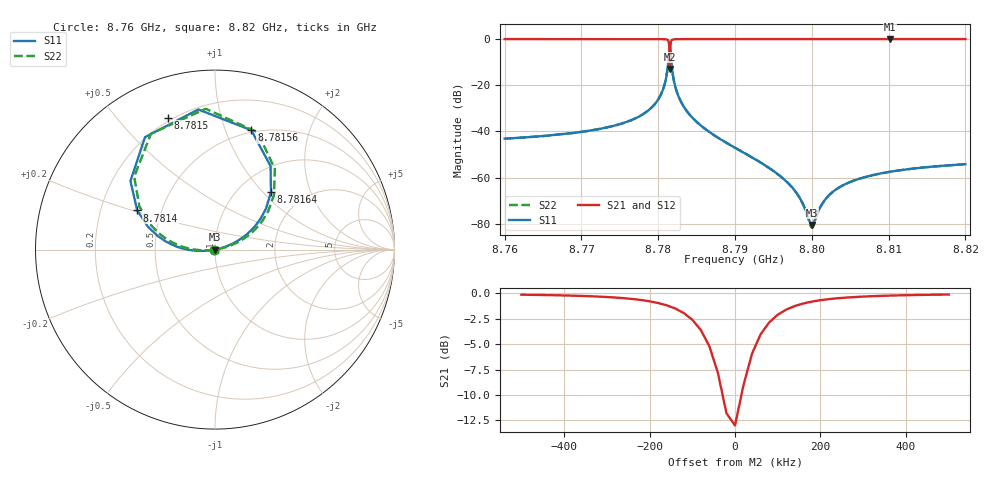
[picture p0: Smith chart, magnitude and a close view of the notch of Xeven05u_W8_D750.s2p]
! Sonnet Data File
! From: emgraph Version : 16.52
! From Project: Qubit_Xmon2_brg_para
! Data is De-embedded
! Data File Written: 11/12/2017 19:09:19
!< HDATE 11/12/2017 17:12:30
!< MDATE 11/12/2017 17:12:30
!< PARAMS
!< Lj = 11.0
!< Gap = 6.0
!< Pwid = 2000.0
!< Airgap = 6.0
!< Width = 10.0
!< Bwid = 8.0
!< Dis1 = 750.0
!< Dis2 = 756.0
!< END PARAMS
# GHZ S MA R 51.80000
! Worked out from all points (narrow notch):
!   3001 points, 8.76 GHz to 8.82 GHz, reference 51.8 ohm
!   highest |S21| = 0.00 dB at 8.81018 GHz (marker M1); lowest = -13.0 dB at 8.78152 GHz (marker M2)
!   notch at M2: 13.0 dB deep, 86.4 kHz wide at half that depth
!   lowest |S11| = -80.5 dB at 8.80002 GHz (marker M3), VSWR 1.00, Z = 51.8 + j0.00951 ohm
!   |S11| at or under -10 dB: start of sweep to 8.78131 GHz; 8.781712 GHz to end of sweep
!   |S22| runs from -81.7 to -2.1 dB; largest |S21 - S12| = 0
!   S11 on the Smith chart (normalised r, x): 8.76 GHz: 0.99, -0.00; 8.7814 GHz: 0.36, +0.21; 8.7815 GHz: 0.18, +0.69; 8.78156 GHz: 0.48, +1.23; 8.78164 GHz: 1.39, +1.11; 8.82 GHz: 1.00, -0.00
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8.76  0.006948 -169.8  1 -80.6  1 -80.6  0.006948 -171.4
!< P1 F=8.76 Eeff=(6.44679139 -2.9786e-5) Z0=(51.7991425 1.19067e-4) R=0.0 C=0.0
!< P2 F=8.76 Eeff=(6.44679139 -2.9786e-5) Z0=(51.7991425 1.19067e-4) R=0.0 C=0.0
8.77  0.009741 -169.9  0.9999 -80.8  0.9999 -80.8  0.009741 -171.9
8.77664  0.01792 -170.3  0.9998 -81.4  0.9998 -81.4  0.01792 -172.8
8.78  0.04934 -172.4  0.9982 -83.2  0.9982 -83.2  0.04934 -175.3
8.78082  0.1026 -176.3  0.9921 -86.3  0.9921 -86.3  0.1026 -179.2
8.7812  0.216 175.3  0.9639 -92.8  0.9639 -92.8  0.216 172.3
8.7814  0.4849 153.3  0.8003 -109.0  0.8003 -109.0  0.4848 150.3
8.7815  0.7799 109.8  0.2573 -107.5  0.2573 -107.5  0.7799 106.8
8.78152  0.7863 96.8  0.224 -65.0  0.224 -65.0  0.7862 93.8
8.78156  0.6953 73.1  0.5061 -40.2  0.5061 -40.2  0.6953 70.0
8.78164  0.4464 45.7  0.8321 -54.2  0.8321 -54.2  0.4464 42.7
8.78184  0.201 26.0  0.9681 -68.8  0.9681 -68.8  0.201 22.9
8.78236  0.07755 16.9  0.9952 -76.0  0.9952 -76.0  0.07755 13.8
8.78366  0.02846 13.5  0.9993 -78.8  0.9993 -78.8  0.02846 10.1
8.79  0.004412 12.7  1 -80.2  1 -80.2  0.004411 7.4
8.79686  0.0007737 18.1  1 -80.5  1 -80.5  0.0007718 2.0
8.8  9.392e-05 99.8  1 -80.6  1 -80.6  8.192e-05 -80.8
8.80002  9.391e-05 102.2  1 -80.6  1 -80.6  8.194e-05 -83.7
8.80324  0.0005641 -178.6  1 -80.6  1 -80.6  0.0005627 -163.7
8.81  0.001316 -173.2  1 -80.7  1 -80.7  0.001315 -168.6
8.81018  0.001331 -173.2  1 -80.7  1 -80.7  0.001331 -168.6
8.82  0.001947 -172.0  1 -80.9  1 -80.9  0.001947 -169.9
